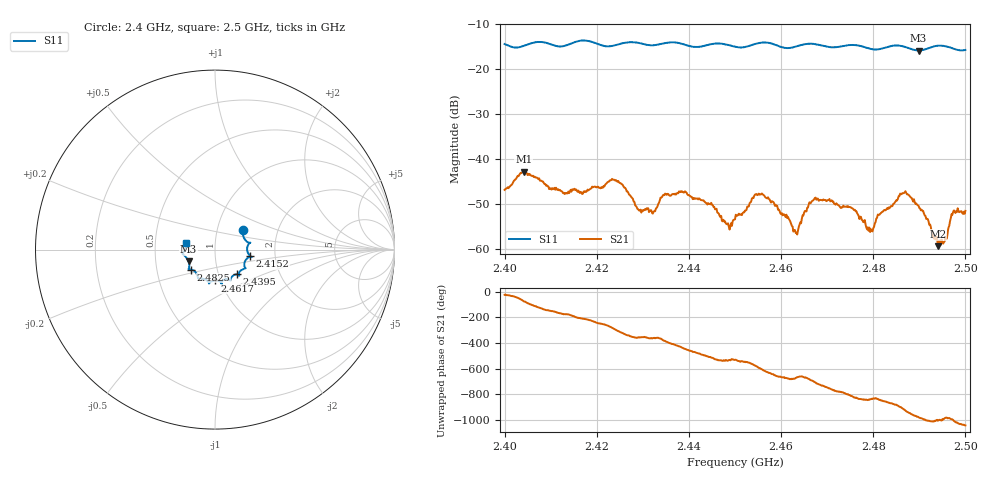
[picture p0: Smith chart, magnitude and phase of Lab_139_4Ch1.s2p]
# Hz S RI R 50
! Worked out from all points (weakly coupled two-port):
!   601 points, 2.4 GHz to 2.5 GHz, reference 50 ohm
!   highest |S21| = -42.84 dB at 2.4042 GHz (marker M1); lowest = -59.5 dB at 2.494 GHz (marker M2)
!   lowest |S11| = -15.9 dB at 2.4898 GHz (marker M3), VSWR 1.38, Z = 36.9 - j4.9 ohm
!   |S11| at or under -10 dB: start of sweep to end of sweep
!   S12 and S22 are empty: the file has one direction only
!   S11 on the Smith chart (normalised r, x): 2.4 GHz: 1.33, +0.30; 2.4152 GHz: 1.48, -0.11; 2.4395 GHz: 1.22, -0.35; 2.4617 GHz: 0.94, -0.33; 2.4825 GHz: 0.75, -0.17; 2.5 GHz: 0.72, +0.05
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2.4e9  0.1559 0.1091  0.00407 -0.00194  0 0  0 0
2.404167e9  0.1755 0.0466  0.00169 -0.00701  0 0  0 0
2.415167e9  0.1958 -0.0364  -0.0045 0.00115  0 0  0 0
2.416667e9  0.2038 -0.0418  -0.00366 0.00209  0 0  0 0
2.423667e9  0.1631 -0.0825  0.00194 0.00553  0 0  0 0
2.429333e9  0.163 -0.1063  0.00264 0.000209  0 0  0 0
2.433333e9  0.133 -0.1329  0.00314 -8.91e-06  0 0  0 0
2.4395e9  0.1226 -0.1379  -0.000134 -0.00418  0 0  0 0
2.45e9  0.0668 -0.1648  -0.0021 -0.000311  0 0  0 0
2.4555e9  0.0365 -0.193  -0.00203 0.00347  0 0  0 0
2.461667e9  0.000625 -0.1717  0.00159 0.00144  0 0  0 0
2.463167e9  -0.019 -0.1771  0.00102 0.00109  0 0  0 0
2.466667e9  -0.0337 -0.1888  0.00299 0.00153  0 0  0 0
2.475e9  -0.0915 -0.1613  3.14e-05 -0.0029  0 0  0 0
2.4795e9  -0.1042 -0.1314  -0.000797 -0.00144  0 0  0 0
2.4825e9  -0.1323 -0.1113  -0.00194 -0.00189  0 0  0 0
2.483333e9  -0.1397 -0.1104  -0.00238 -0.0016  0 0  0 0
2.486667e9  -0.1451 -0.1035  -0.00393 0.00134  0 0  0 0
2.489833e9  -0.1476 -0.0647  -0.000567 0.00295  0 0  0 0
2.494e9  -0.1807 -0.0237  0.000307 0.00102  0 0  0 0
2.4975e9  -0.1683 -0.0044  0.000828 0.00253  0 0  0 0
2.5e9  -0.1596 0.0352  0.00212 0.00156  0 0  0 0
